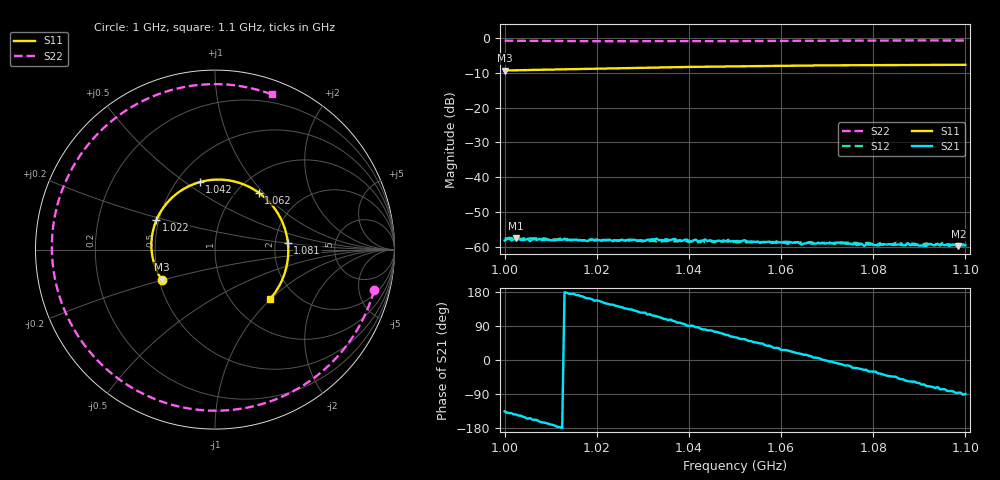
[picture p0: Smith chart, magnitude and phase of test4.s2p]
!Keysight Technologies N9923A: A.08.15
!Date: Wednesday, 14 February 2024 17:42:23
!Timezone: (GMT-05:00) Eastern Time (US & Canada)
!Model: N9923A
!Serial: MY52412730
!GPS Latitude:
!GPS Longitude:
!GPS TimeStamp: 0001-01-01 00:00:00Z
!GPS Seconds Since Last Read: 0
!CHECKSUM:1050993248
!Correction: S11(ON Q)S21(ON Q)S12(ON Q)S22(ON Q)
!S2P File: Measurements:S11,S21,S12,S22:
# Hz S DB R 50
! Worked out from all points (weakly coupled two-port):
!   201 points, 1 GHz to 1.1 GHz, reference 50 ohm
!   highest |S21| = -57.60 dB at 1.002 GHz (marker M1); lowest = -59.8 dB at 1.099 GHz (marker M2)
!   lowest |S11| = -9.4 dB at 1 GHz (marker M3), VSWR 2.03, Z = 25.8 - j9.75 ohm
!   |S11| at or under -10 dB: nowhere
!   |S22| runs from -0.9 to -0.7 dB; largest |S21 - S12| = 0.00012
!   S11 on the Smith chart (normalised r, x): 1 GHz: 0.52, -0.20; 1.022 GHz: 0.49, +0.18; 1.042 GHz: 0.65, +0.57; 1.062 GHz: 1.25, +0.94; 1.081 GHz: 2.35, +0.21; 1.1 GHz: 1.49, -0.99
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1e9  -9.36 -150.7  -58.21 -135.3  -57.49 -133.9  -0.77 -14.3
1.0025e9  -9.28 -157.1  -57.60 -143.9  -57.56 -144.0  -0.80 -21.1
1.0055e9  -9.20 -164.8  -58.38 -153.3  -57.54 -154.3  -0.82 -29.3
1.0095e9  -9.08 -175.0  -57.95 -168.4  -58.10 -166.9  -0.85 -40.3
1.017e9  -8.88 165.9  -58.20 167.4  -58.19 166.3  -0.90 -60.8
1.022e9  -8.74 153.2  -58.05 149.1  -58.21 150.0  -0.92 -74.5
1.0275e9  -8.60 139.3  -58.07 133.5  -58.04 130.6  -0.94 -89.6
1.0335e9  -8.46 124.1  -58.14 113.3  -58.52 112.8  -0.94 -106.2
1.042e9  -8.28 102.7  -58.51 86.5  -58.75 84.2  -0.93 -129.7
1.0435e9  -8.25 98.9  -57.87 80.9  -58.70 79.9  -0.92 -133.8
1.05e9  -8.13 82.6  -58.43 59.9  -58.65 59.8  -0.89 -151.8
1.056e9  -8.04 67.6  -58.62 43.5  -58.65 37.8  -0.86 -168.4
1.062e9  -7.96 52.6  -58.69 23.3  -58.61 20.4  -0.82 174.9
1.067e9  -7.90 40.1  -59.10 6.3  -58.87 7.0  -0.79 161.0
1.0735e9  -7.85 23.9  -58.98 -12.8  -58.80 -13.5  -0.75 143.0
1.081e9  -7.79 5.3  -59.61 -35.2  -59.30 -33.9  -0.72 122.2
1.0835e9  -7.78 -1.0  -59.32 -42.7  -59.24 -43.2  -0.71 115.3
1.087e9  -7.76 -9.6  -59.62 -54.3  -59.46 -53.1  -0.71 105.6
1.0875e9  -7.76 -10.9  -58.95 -55.8  -58.89 -52.7  -0.71 104.2
1.091e9  -7.74 -19.6  -59.74 -64.2  -59.22 -64.7  -0.71 94.6
1.0985e9  -7.71 -38.1  -59.84 -86.2  -59.15 -81.7  -0.71 73.9
1.1e9  -7.70 -41.9  -59.60 -89.5  -59.62 -89.1  -0.72 69.8
